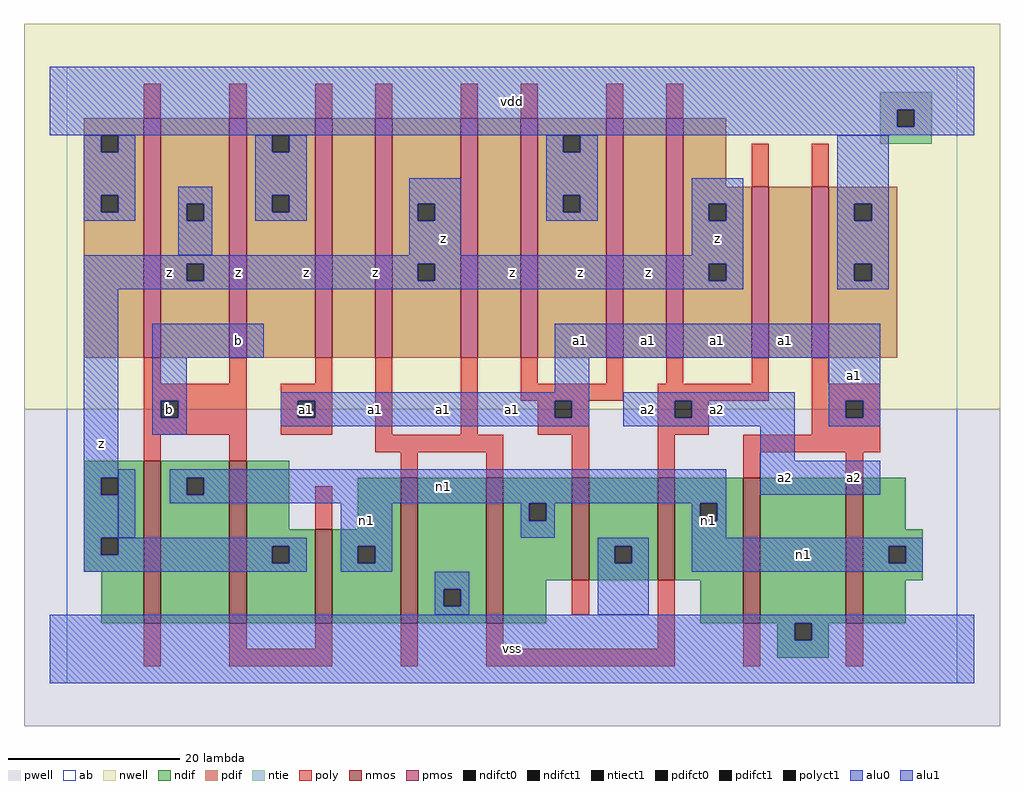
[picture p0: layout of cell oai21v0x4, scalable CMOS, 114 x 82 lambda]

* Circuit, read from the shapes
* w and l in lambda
.subckt oai21v0x4 a1 a2 b n1 vdd vss z
M1 n1 b z VSUBS nfet w=19 l=2 m=2
M2 n1 b z VSUBS nfet w=11 l=2
M3 vss a2 n1 VSUBS nfet w=17 l=2 m=2
M4 vss a1 n1 VSUBS nfet w=12 l=2
M5 n1 a2 vss VSUBS nfet w=12 l=2
M6 vss a1 n1 VSUBS nfet w=17 l=2 m=2
M7 z b vdd vdd pfet w=28 l=2 m=2
M8 n2 a1 vdd vdd pfet w=28 l=2
M9 z a2 n2 vdd pfet w=28 l=2
M10 n3 a2 z vdd pfet w=28 l=2
M11 vdd a1 n3 vdd pfet w=28 l=2
M12 n4 a1 vdd vdd pfet w=28 l=2
M13 z a2 n4 vdd pfet w=28 l=2
M14 n5 a2 z vdd pfet w=20 l=2
M15 vdd a1 n5 vdd pfet w=20 l=2
.ends

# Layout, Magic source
magic
tech scmos
<< ab >>
rect 0 0 104 72
<< nwell >>
rect -5 32 109 77
<< pwell >>
rect -5 -5 109 32
<< poly >>
rect 9 66 11 70
rect 19 66 21 70
rect 29 66 31 70
rect 36 66 38 70
rect 46 66 48 70
rect 53 66 55 70
rect 63 66 65 70
rect 70 66 72 70
rect 80 58 82 63
rect 87 58 89 63
rect 9 35 11 38
rect 19 35 21 38
rect 29 35 31 38
rect 9 33 21 35
rect 9 31 11 33
rect 13 31 21 33
rect 9 29 21 31
rect 25 33 31 35
rect 25 31 27 33
rect 29 31 31 33
rect 25 29 31 31
rect 36 29 38 38
rect 46 29 48 38
rect 53 35 55 38
rect 63 35 65 38
rect 70 35 72 38
rect 80 35 82 38
rect 53 33 65 35
rect 69 33 82 35
rect 87 35 89 38
rect 87 33 95 35
rect 55 31 57 33
rect 59 31 61 33
rect 55 29 61 31
rect 9 26 11 29
rect 19 26 21 29
rect 36 27 51 29
rect 39 24 41 27
rect 49 24 51 27
rect 59 24 61 29
rect 69 31 71 33
rect 73 31 75 33
rect 69 29 75 31
rect 87 31 91 33
rect 93 31 95 33
rect 87 29 95 31
rect 69 24 71 29
rect 79 27 95 29
rect 79 24 81 27
rect 91 24 93 27
rect 29 18 31 23
rect 59 8 61 12
rect 9 2 11 7
rect 19 4 21 7
rect 29 4 31 7
rect 19 2 31 4
rect 39 2 41 7
rect 49 4 51 7
rect 69 4 71 12
rect 49 2 71 4
rect 79 2 81 7
rect 91 2 93 7
<< ndif >>
rect 2 24 9 26
rect 2 22 4 24
rect 6 22 9 24
rect 2 17 9 22
rect 2 15 4 17
rect 6 15 9 17
rect 2 13 9 15
rect 4 7 9 13
rect 11 24 19 26
rect 11 22 14 24
rect 16 22 19 24
rect 11 7 19 22
rect 21 18 26 26
rect 34 18 39 24
rect 21 16 29 18
rect 21 14 24 16
rect 26 14 29 16
rect 21 7 29 14
rect 31 16 39 18
rect 31 14 34 16
rect 36 14 39 16
rect 31 7 39 14
rect 41 11 49 24
rect 41 9 44 11
rect 46 9 49 11
rect 41 7 49 9
rect 51 21 59 24
rect 51 19 54 21
rect 56 19 59 21
rect 51 12 59 19
rect 61 16 69 24
rect 61 14 64 16
rect 66 14 69 16
rect 61 12 69 14
rect 71 21 79 24
rect 71 19 74 21
rect 76 19 79 21
rect 71 12 79 19
rect 51 7 56 12
rect 74 7 79 12
rect 81 7 91 24
rect 93 18 98 24
rect 93 16 100 18
rect 93 14 96 16
rect 98 14 100 16
rect 93 12 100 14
rect 93 7 98 12
rect 83 5 85 7
rect 87 5 89 7
rect 83 3 89 5
<< pdif >>
rect 2 64 9 66
rect 2 62 4 64
rect 6 62 9 64
rect 2 57 9 62
rect 2 55 4 57
rect 6 55 9 57
rect 2 38 9 55
rect 11 56 19 66
rect 11 54 14 56
rect 16 54 19 56
rect 11 49 19 54
rect 11 47 14 49
rect 16 47 19 49
rect 11 38 19 47
rect 21 64 29 66
rect 21 62 24 64
rect 26 62 29 64
rect 21 57 29 62
rect 21 55 24 57
rect 26 55 29 57
rect 21 38 29 55
rect 31 38 36 66
rect 38 56 46 66
rect 38 54 41 56
rect 43 54 46 56
rect 38 49 46 54
rect 38 47 41 49
rect 43 47 46 49
rect 38 38 46 47
rect 48 38 53 66
rect 55 64 63 66
rect 55 62 58 64
rect 60 62 63 64
rect 55 57 63 62
rect 55 55 58 57
rect 60 55 63 57
rect 55 38 63 55
rect 65 38 70 66
rect 72 58 77 66
rect 72 56 80 58
rect 72 54 75 56
rect 77 54 80 56
rect 72 49 80 54
rect 72 47 75 49
rect 77 47 80 49
rect 72 38 80 47
rect 82 38 87 58
rect 89 56 97 58
rect 89 54 92 56
rect 94 54 97 56
rect 89 49 97 54
rect 89 47 92 49
rect 94 47 97 49
rect 89 38 97 47
<< alu1 >>
rect -2 67 106 72
rect -2 65 97 67
rect 99 65 106 67
rect -2 64 106 65
rect 40 56 46 59
rect 40 54 41 56
rect 43 54 46 56
rect 73 56 79 59
rect 73 54 75 56
rect 77 54 79 56
rect 40 50 46 54
rect 73 50 79 54
rect 2 49 79 50
rect 2 47 14 49
rect 16 47 41 49
rect 43 47 75 49
rect 77 47 79 49
rect 2 46 79 47
rect 2 24 6 46
rect 10 38 23 42
rect 57 38 95 42
rect 10 33 14 38
rect 57 34 61 38
rect 10 31 11 33
rect 13 31 14 33
rect 10 29 14 31
rect 25 33 61 34
rect 25 31 27 33
rect 29 31 57 33
rect 59 31 61 33
rect 25 30 61 31
rect 65 33 85 34
rect 65 31 71 33
rect 73 31 85 33
rect 65 30 85 31
rect 89 33 95 38
rect 89 31 91 33
rect 93 31 95 33
rect 89 30 95 31
rect 81 26 85 30
rect 2 22 4 24
rect 2 17 6 22
rect 81 22 95 26
rect 2 15 4 17
rect 6 16 28 17
rect 6 15 24 16
rect 2 14 24 15
rect 26 14 28 16
rect 2 13 28 14
rect -2 7 106 8
rect -2 5 85 7
rect 87 5 106 7
rect -2 0 106 5
<< ntie >>
rect 95 67 101 69
rect 95 65 97 67
rect 99 65 101 67
rect 95 63 101 65
<< nmos >>
rect 9 7 11 26
rect 19 7 21 26
rect 29 7 31 18
rect 39 7 41 24
rect 49 7 51 24
rect 59 12 61 24
rect 69 12 71 24
rect 79 7 81 24
rect 91 7 93 24
<< pmos >>
rect 9 38 11 66
rect 19 38 21 66
rect 29 38 31 66
rect 36 38 38 66
rect 46 38 48 66
rect 53 38 55 66
rect 63 38 65 66
rect 70 38 72 66
rect 80 38 82 58
rect 87 38 89 58
<< polyct1 >>
rect 11 31 13 33
rect 27 31 29 33
rect 57 31 59 33
rect 71 31 73 33
rect 91 31 93 33
<< ndifct0 >>
rect 14 22 16 24
rect 34 14 36 16
rect 44 9 46 11
rect 54 19 56 21
rect 64 14 66 16
rect 74 19 76 21
rect 96 14 98 16
<< ndifct1 >>
rect 4 22 6 24
rect 4 15 6 17
rect 24 14 26 16
rect 85 5 87 7
<< ntiect1 >>
rect 97 65 99 67
<< pdifct0 >>
rect 4 62 6 64
rect 4 55 6 57
rect 14 54 16 56
rect 24 62 26 64
rect 24 55 26 57
rect 58 62 60 64
rect 58 55 60 57
rect 92 54 94 56
rect 92 47 94 49
<< pdifct1 >>
rect 14 47 16 49
rect 41 54 43 56
rect 41 47 43 49
rect 75 54 77 56
rect 75 47 77 49
<< alu0 >>
rect 2 62 4 64
rect 6 62 8 64
rect 2 57 8 62
rect 22 62 24 64
rect 26 62 28 64
rect 2 55 4 57
rect 6 55 8 57
rect 2 54 8 55
rect 13 56 17 58
rect 13 54 14 56
rect 16 54 17 56
rect 22 57 28 62
rect 56 62 58 64
rect 60 62 62 64
rect 22 55 24 57
rect 26 55 28 57
rect 22 54 28 55
rect 56 57 62 62
rect 56 55 58 57
rect 60 55 62 57
rect 56 54 62 55
rect 13 50 17 54
rect 90 56 96 64
rect 90 54 92 56
rect 94 54 96 56
rect 90 49 96 54
rect 90 47 92 49
rect 94 47 96 49
rect 90 46 96 47
rect 6 17 8 25
rect 12 24 77 25
rect 12 22 14 24
rect 16 22 77 24
rect 12 21 77 22
rect 32 16 38 21
rect 53 19 54 21
rect 56 19 57 21
rect 53 17 57 19
rect 73 19 74 21
rect 76 19 77 21
rect 73 17 77 19
rect 32 14 34 16
rect 36 14 38 16
rect 32 13 38 14
rect 62 16 68 17
rect 62 14 64 16
rect 66 14 68 16
rect 43 11 47 13
rect 43 9 44 11
rect 46 9 47 11
rect 43 8 47 9
rect 62 8 68 14
rect 73 16 100 17
rect 73 14 96 16
rect 98 14 100 16
rect 73 13 100 14
<< labels >>
rlabel alu0 35 19 35 19 6 n1
rlabel alu0 86 15 86 15 6 n1
rlabel alu0 75 19 75 19 6 n1
rlabel alu0 44 23 44 23 6 n1
rlabel polyct1 12 32 12 32 6 b
rlabel alu1 4 28 4 28 6 z
rlabel alu1 12 48 12 48 6 z
rlabel alu1 36 32 36 32 6 a1
rlabel polyct1 28 32 28 32 6 a1
rlabel alu1 20 40 20 40 6 b
rlabel alu1 20 48 20 48 6 z
rlabel alu1 36 48 36 48 6 z
rlabel alu1 28 48 28 48 6 z
rlabel alu1 52 4 52 4 6 vss
rlabel alu1 52 32 52 32 6 a1
rlabel alu1 44 32 44 32 6 a1
rlabel alu1 60 40 60 40 6 a1
rlabel alu1 44 52 44 52 6 z
rlabel alu1 60 48 60 48 6 z
rlabel alu1 52 48 52 48 6 z
rlabel alu1 52 68 52 68 6 vdd
rlabel alu1 76 32 76 32 6 a2
rlabel alu1 68 32 68 32 6 a2
rlabel alu1 76 40 76 40 6 a1
rlabel alu1 68 40 68 40 6 a1
rlabel alu1 76 52 76 52 6 z
rlabel alu1 68 48 68 48 6 z
rlabel alu1 84 24 84 24 6 a2
rlabel alu1 92 24 92 24 6 a2
rlabel alu1 84 40 84 40 6 a1
rlabel alu1 92 36 92 36 6 a1
<< end >>
